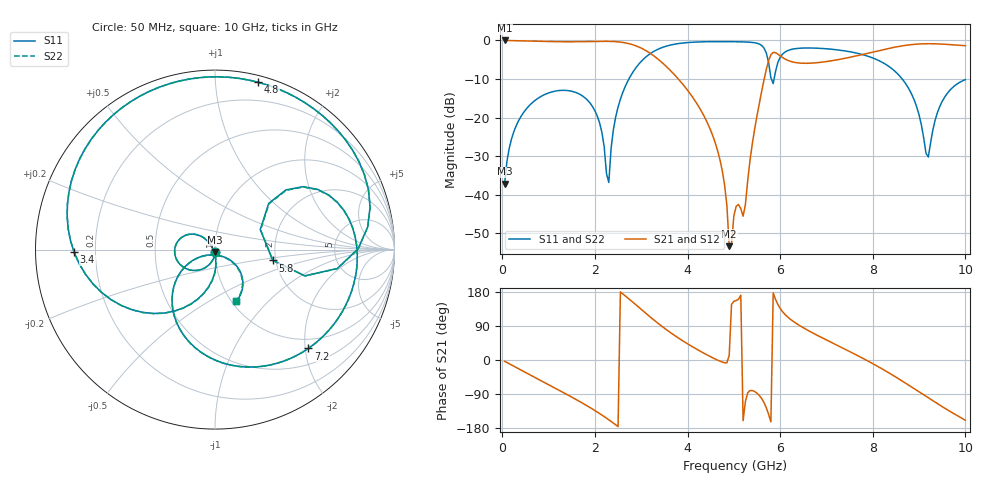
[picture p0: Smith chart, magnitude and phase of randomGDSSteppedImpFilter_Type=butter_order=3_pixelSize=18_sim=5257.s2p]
! freq	dB(S11)	phase(S11)	dB(S12)	phase(S12)
!  dB(S21)	phase(S21)	dB(S22)	phase(S22)
!S-par simulation data
#  GHz  S  DB  R 50
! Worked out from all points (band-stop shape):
!   200 points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, 50 MHz to 10 GHz, reference 50 ohm
!   highest |S21| = -0.03 dB at 50 MHz (marker M1); lowest = -53.3 dB at 4.9 GHz (marker M2)
!   |S21| within 3 dB of the highest: start of sweep to 3.152 GHz; 8.004 GHz to end of sweep
!   lowest |S11| = -37.2 dB at 50 MHz (marker M3), VSWR 1.03, Z = 50.1 - j1.38 ohm
!   |S11| at or under -10 dB: start of sweep to 2.734 GHz; 5.81 GHz to 5.869 GHz (59.3 MHz wide, 1.02 % of centre); 8.634 GHz to end of sweep
!   |S22| runs from -37.3 to -0.3 dB; largest |S21 - S12| = 0
!   S11 on the Smith chart (normalised r, x): 50 MHz: 1.00, -0.03; 3.4 GHz: 0.12, -0.01; 4.8 GHz: 0.05, +1.29; 5.8 GHz: 1.92, -0.26; 7.2 GHz: 0.80, -2.06; 10 GHz: 1.05, -0.67
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0.05  -37.17 -84.6  -0.03 -3.4  -0.03 -3.4  -37.17 -84.6
0.55  -17.33 -125.3  -0.16 -36.1  -0.16 -36.1  -17.33 -125.3
1.75  -14.56 155.8  -0.33 -115.1  -0.33 -115.1  -14.56 155.6
2.1  -21.36 133.2  -0.26 -141.2  -0.26 -141.2  -21.37 132.5
2.3  -36.83 -113.1  -0.26 -157.7  -0.26 -157.7  -37.34 -109.3
2.6  -13.55 -99.7  -0.54 174.7  -0.54 174.7  -13.55 -99.3
3.4  -2.10 -178.9  -5.24 93.3  -5.24 93.3  -2.10 -178.9
4.35  -0.37 105.6  -19.47 18.2  -19.47 18.2  -0.37 105.6
4.8  -0.33 75.4  -37.47 -7.3  -37.47 -7.3  -0.33 75.3
4.9  -0.34 68.8  -53.33 12.3  -53.33 12.3  -0.34 68.7
5.05  -0.36 58.5  -43.02 156.9  -43.02 156.9  -0.36 58.4
5.2  -0.40 47.8  -45.57 -160.0  -45.57 -160.0  -0.40 47.7
5.6  -1.31 8.4  -13.26 -101.6  -13.26 -101.6  -1.31 8.3
5.8  -9.71 -10.6  -3.73 -163.2  -3.73 -163.2  -9.67 -10.6
6.05  -3.58 30.5  -4.44 127.9  -4.44 127.9  -3.58 30.3
6.7  -1.99 -17.2  -5.88 71.6  -5.88 71.6  -1.99 -17.4
7.2  -2.41 -46.6  -5.11 40.7  -5.11 40.7  -2.41 -46.8
8.35  -6.78 -117.9  -2.08 -34.1  -2.08 -34.1  -6.78 -117.9
8.85  -14.21 -150.2  -1.09 -72.3  -1.09 -72.3  -14.19 -150.0
9.2  -30.23 -75.8  -0.87 -100.0  -0.87 -100.0  -29.78 -77.5
9.45  -17.05 -36.1  -0.94 -119.4  -0.94 -119.4  -17.05 -37.2
10  -10.17 -67.4  -1.38 -159.0  -1.38 -159.0  -10.18 -68.0
